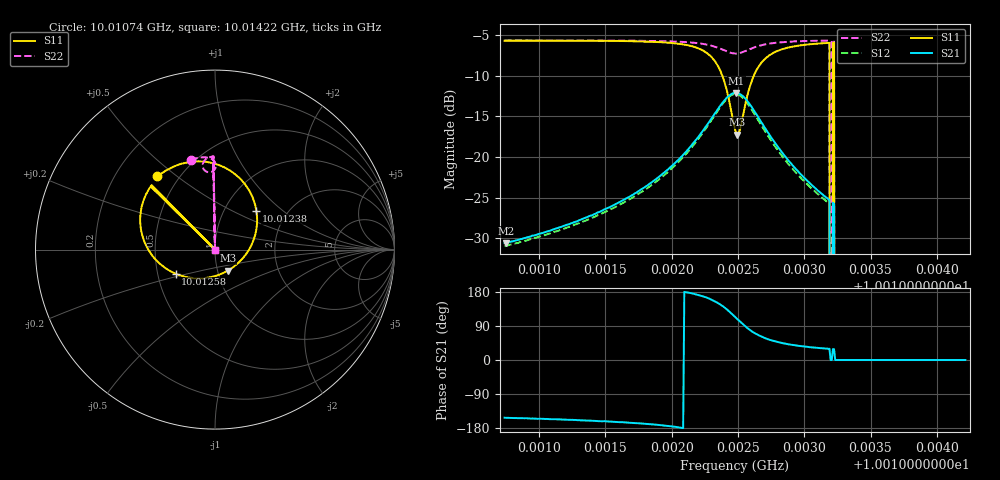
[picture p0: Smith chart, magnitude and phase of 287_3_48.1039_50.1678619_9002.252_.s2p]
#  HZ  S  RI  R  50.00
! Rohde & Schwarz Vector Network Analyzer
! Rohde-Schwarz,ZNB20-2Port,1311601062101988,3.16
! Created: UTC 12/23/2023, 4:03:23 AM
! freq[Hz]  re:S11  im:S11  re:S21  im:S21  re:S12  im:S12  re:S22  im:S22
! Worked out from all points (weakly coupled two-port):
!   401 points, 10.01074 GHz to 10.01422 GHz, reference 50 ohm
!   highest |S21| = -12.12 dB at 10.01249 GHz (marker M1); lowest = -30.6 dB at 10.01075 GHz (marker M2)
!   lowest |S11| = -17.2 dB at 10.0125 GHz (marker M3), VSWR 1.32, Z = 55.9 - j13.4 ohm
!   |S11| at or under -10 dB: 10.01238 GHz to 10.01262 GHz (238.4 kHz wide, 0.00238 % of centre); 10.01319 GHz to 10.01322 GHz (25.7 kHz wide, 0.000257 % of centre); 10.01323 GHz to end of sweep
!   |S22| runs from - to -5.7 dB; largest |S21 - S12| = 0.012
!   S11 on the Smith chart (normalised r, x): 10.01074 GHz: 0.38, +0.43; 10.01238 GHz: 1.41, +0.67; 10.01258 GHz: 0.62, -0.18; 10.01422 GHz: 1.00, +0.00
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1.0010741e10  -0.3204 0.4076  -0.0261 -0.0137  -0.0243 -0.0145  -0.1355 0.5017
1.0010749e10  -0.3197 0.4084  -0.0261 -0.0136  -0.0244 -0.0145  -0.1349 0.5018
1.0011323e10  -0.2627 0.4466  -0.0387 -0.0147  -0.0362 -0.0161  -0.0953 0.5107
1.0011905e10  -0.1405 0.4882  -0.0746 -0.0113  -0.0712 -0.0147  -0.0467 0.5134
1.0012226e10  0.0667 0.4505  -0.1386 0.027  -0.1362 0.0183  -0.00762 0.4966
1.0012382e10  0.2309 0.2148  -0.171 0.1296  -0.1741 0.1194  0.00322 0.4573
1.0012478e10  0.1252 -0.0786  -0.0999 0.2266  -0.1054 0.2193  -0.027 0.4312
1.0012487e10  0.0982 -0.1001  -0.0879 0.2316  -0.0935 0.2246  -0.0313 0.4307
1.0012495e10  0.0707 -0.1177  -0.0761 0.2352  -0.0816 0.2283  -0.0355 0.4309
1.0012582e10  -0.219 -0.1344  0.0326 0.2123  0.0259 0.2062  -0.0653 0.4524
1.001273e10  -0.4076 0.0884  0.0814 0.1136  0.0739 0.111  -0.0611 0.4925
1.001306e10  -0.3803 0.3156  0.0558 0.0366  0.0515 0.0372  -0.0232 0.5165
1.0013173e10  -0.3615 0.3476  0.0484 0.0279  0.0445 0.0287  -0.0126 0.5191
1.0013181e10  -0.36 0.3498  0.0478 0.0272  0.0441 0.0282  -0.0119 0.519
1.001319e10  -0.3586 0.3519  0.0474 0.0268  0.0437 0.0276  -0.0111 0.5191
1.0013208e10  0 0  0 0  0 0  -0.00949 0.5193
1.0013216e10  -0.3546 0.3574  0.0459 0.0251  0.0424 0.0258  -0.00874 0.5196
1.0013225e10  -0.3533 0.3595  0.0454 0.0246  0.042 0.0254  -0.00784 0.5197
1.0013234e10  0 0  0 0  0 0  0 0
1.0013251e10  0 0  0 0  0 0  0 0
1.0013642e10  0 0  0 0  0 0  0 0
1.0014215e10  0 0  0 0  0 0  0 0
